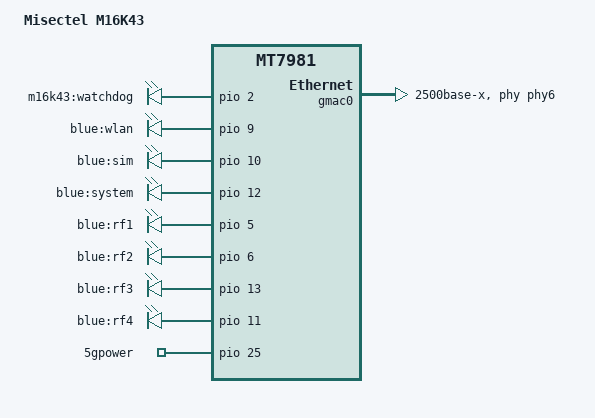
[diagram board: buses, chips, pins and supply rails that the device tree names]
// SPDX-License-Identifier: GPL-2.0-or-later OR MIT
/dts-v1/;

/* NOR + NAND layout and radio calibration match M01K43. */
#include "mt7981b-misectel-m01k43.dts"

/ {
	model = "Misectel M16K43";
	compatible = "misectel,m16k43", "mediatek,mt7981";
	/delete-node/ gpio-keys;
	/delete-node/ leds;
	/delete-node/ gpio-export;
	aliases {
		/delete-property/ led-boot;
		/delete-property/ led-failsafe;
		/delete-property/ led-running;
		/delete-property/ led-upgrade;
		led-boot = &led_system;
		led-running = &led_system;
	};
	leds {
		compatible = "gpio-leds";
		/* External supervisor needs a clock, including during userspace shutdown. */
		watchdog-clock {
			label = "m16k43:watchdog";
			gpios = <&pio 2 GPIO_ACTIVE_HIGH>;
			linux,default-trigger = "timer";
			led-pattern = <500 500>;
		};
		wifi {
			label = "blue:wlan";
			gpios = <&pio 9 GPIO_ACTIVE_HIGH>;
		};
		sim {
			label = "blue:sim";
			gpios = <&pio 10 GPIO_ACTIVE_HIGH>;
		};
		led_system: system {
			label = "blue:system";
			gpios = <&pio 12 GPIO_ACTIVE_HIGH>;
			linux,default-trigger = "timer";
			led-pattern = <500 500>;
		};
		rf1 {
			label = "blue:rf1";
			gpios = <&pio 5 GPIO_ACTIVE_HIGH>;
		};
		rf2 {
			label = "blue:rf2";
			gpios = <&pio 6 GPIO_ACTIVE_HIGH>;
		};
		rf3 {
			label = "blue:rf3";
			gpios = <&pio 13 GPIO_ACTIVE_HIGH>;
		};
		rf4 {
			label = "blue:rf4";
			gpios = <&pio 11 GPIO_ACTIVE_HIGH>;
		};
	};
	gpio-export {
		compatible = "gpio-export";
		modem-power {
			gpio-export,name = "5gpower";
			gpio-export,output = <0>;
			gpios = <&pio 25 GPIO_ACTIVE_HIGH>;
		};
	};
};

&mdio_bus {
	/delete-node/ switch@1f;
};

&gmac0 {
	phy-mode = "2500base-x";
	phy-handle = <&phy6>;
	/delete-node/ fixed-link;
};

&phy6 {
	reset-gpios = <&pio 39 GPIO_ACTIVE_LOW>;
};
